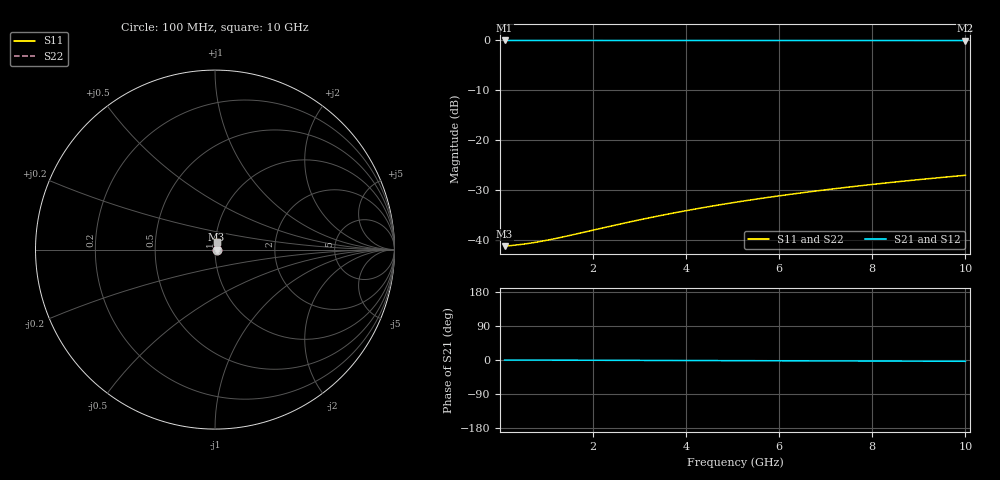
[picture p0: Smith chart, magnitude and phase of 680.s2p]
# Hz S RI R 50.00
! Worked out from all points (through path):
!   100 points, 100 MHz to 10 GHz, reference 50 ohm
!   highest |S21| = -0.08 dB at 100 MHz (marker M1); lowest = -0.1 dB at 10 GHz (marker M2)
!   lowest |S11| = -41.2 dB at 100 MHz (marker M3), VSWR 1.02, Z = 50.9 + j0.0437 ohm
!   |S11| at or under -10 dB: start of sweep to end of sweep
!   |S22| runs from -41.2 to -27.0 dB; largest |S21 - S12| = 0
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1e8  0.00867 0.00043  0.9913 -0.000592  0.9913 -0.000592  0.00867 0.00043
3e8  0.00877 0.00129  0.9912 -0.00178  0.9912 -0.00178  0.00877 0.00129
5e8  0.00884 0.00215  0.9912 -0.00296  0.9912 -0.00296  0.00884 0.00215
8e8  0.00892 0.00344  0.9911 -0.00473  0.9911 -0.00473  0.00892 0.00344
1e9  0.00896 0.00429  0.991 -0.00592  0.991 -0.00592  0.00896 0.00429
1.2e9  0.009 0.00515  0.991 -0.0071  0.991 -0.0071  0.009 0.00515
1.5e9  0.00906 0.00644  0.9909 -0.00887  0.9909 -0.00887  0.00906 0.00644
1.8e9  0.00912 0.00773  0.9909 -0.0106  0.9909 -0.0106  0.00912 0.00773
2.7e9  0.00931 0.0116  0.9907 -0.016  0.9907 -0.016  0.00931 0.0116
3.1e9  0.00939 0.0133  0.9906 -0.0183  0.9906 -0.0183  0.00939 0.0133
3.4e9  0.00947 0.0146  0.9905 -0.0201  0.9905 -0.0201  0.00947 0.0146
3.8e9  0.00956 0.0163  0.9904 -0.0225  0.9904 -0.0225  0.00956 0.0163
4.2e9  0.00967 0.018  0.9903 -0.0248  0.9903 -0.0248  0.00967 0.018
4.6e9  0.00978 0.0197  0.9902 -0.0272  0.9902 -0.0272  0.00978 0.0197
5.1e9  0.00993 0.0219  0.99 -0.0301  0.99 -0.0301  0.00993 0.0219
5.5e9  0.0101 0.0236  0.9899 -0.0325  0.9899 -0.0325  0.0101 0.0236
5.9e9  0.0102 0.0253  0.9897 -0.0349  0.9897 -0.0349  0.0102 0.0253
6.7e9  0.0105 0.0287  0.9894 -0.0396  0.9894 -0.0396  0.0105 0.0287
7.5e9  0.0108 0.0321  0.9891 -0.0443  0.9891 -0.0443  0.0108 0.0321
8.4e9  0.0112 0.036  0.9887 -0.0496  0.9887 -0.0496  0.0112 0.036
9.2e9  0.0116 0.0394  0.9883 -0.0543  0.9883 -0.0543  0.0116 0.0394
1e10  0.012 0.0428  0.9878 -0.059  0.9878 -0.059  0.012 0.0428
